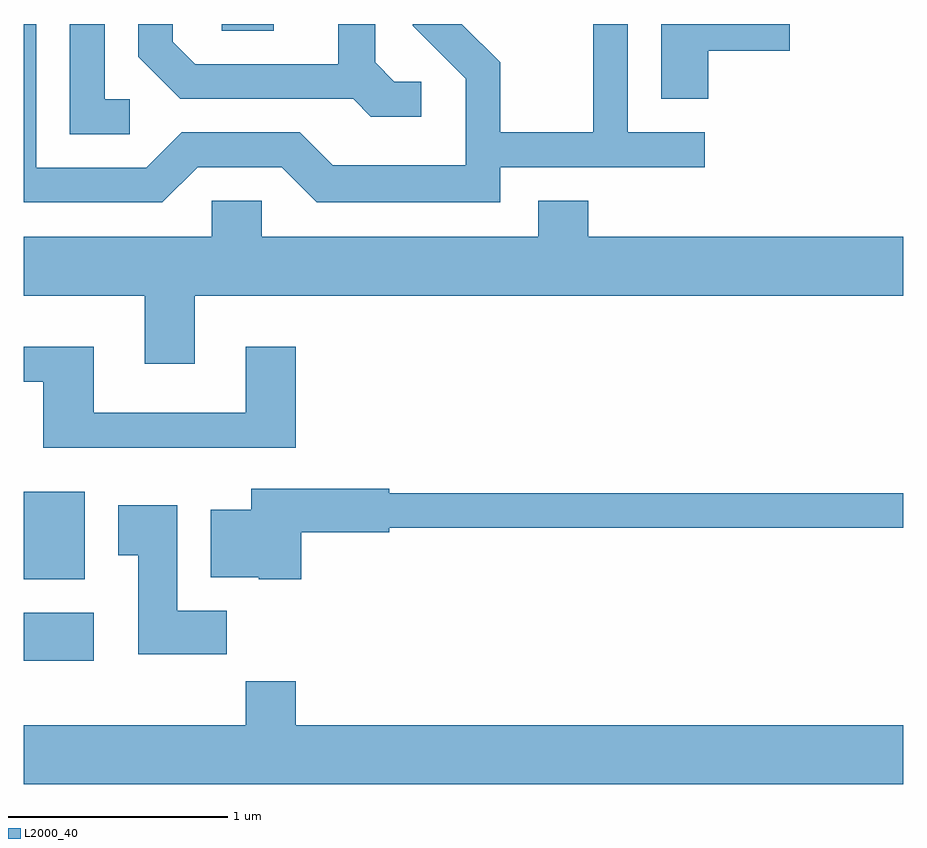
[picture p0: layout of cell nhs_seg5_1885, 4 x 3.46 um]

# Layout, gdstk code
import gdstk
lib = gdstk.Library(unit=1e-6, precision=1e-09)
def R(c, l, rs):  # rectangles x0, y0, x1, y1
    for r in rs: c.add(gdstk.rectangle(r[:2], r[2:], *l))
def P(c, l, *ps):  # polygons
    for p in ps: c.add(gdstk.Polygon(p, *l))
L2000_40 = (2000, 40)

nhs_seg5_1885 = lib.new_cell('nhs_seg5_1885')
R(nhs_seg5_1885, L2000_40, [(241.611,1415.176,241.929,1415.394), (241.611,1415.546,241.889,1415.944), (242.511,1418.041,242.749,1418.072)])
P(nhs_seg5_1885, L2000_40, [(244.724,1417.951),(245.094,1417.951),(245.094,1418.072),(244.511,1418.072),(244.511,1417.731),(244.724,1417.731)],
  [(243.418,1417.809),(243.297,1417.809),(243.209,1417.897),(243.209,1418.072),(243.041,1418.072),(243.041,1417.889),(242.392,1417.889),(242.289,1417.992),(242.289,1418.072),(242.131,1418.072),(242.131,1417.924),(242.324,1417.731),(243.109,1417.731),(243.189,1417.651),(243.418,1417.651)],
  [(242.402,1417.421),(242.784,1417.421),(242.944,1417.261),(243.779,1417.261),(243.779,1417.421),(244.708,1417.421),(244.708,1417.579),(244.359,1417.579),(244.359,1418.072),(244.201,1418.072),(244.201,1417.579),(243.779,1417.579),(243.779,1417.897),(243.604,1418.072),(243.381,1418.072),(243.381,1418.064),(243.621,1417.824),(243.621,1417.429),(243.017,1417.429),(242.867,1417.579),(242.329,1417.579),(242.169,1417.419),(241.669,1417.419),(241.669,1418.072),(241.611,1418.072),(241.611,1417.261),(242.242,1417.261)],
  [(242.093,1417.729),(241.979,1417.729),(241.979,1418.072),(241.821,1418.072),(241.821,1417.571),(242.093,1417.571)],
  [(245.611,1417.104),(244.179,1417.104),(244.179,1417.269),(243.951,1417.269),(243.951,1417.104),(242.694,1417.104),(242.694,1417.269),(242.466,1417.269),(242.466,1417.104),(241.611,1417.104),(241.611,1416.836),(242.161,1416.836),(242.161,1416.526),(242.389,1416.526),(242.389,1416.836),(245.611,1416.836)],
  [(242.849,1416.604),(242.621,1416.604),(242.621,1416.304),(241.929,1416.304),(241.929,1416.604),(241.611,1416.604),(241.611,1416.446),(241.701,1416.446),(241.701,1416.146),(242.849,1416.146)],
  [(242.874,1415.761),(243.274,1415.761),(243.274,1415.781),(245.611,1415.781),(245.611,1415.939),(243.274,1415.939),(243.274,1415.959),(242.646,1415.959),(242.646,1415.864),(242.461,1415.864),(242.461,1415.556),(242.68,1415.556),(242.68,1415.546),(242.874,1415.546)],
  [(242.534,1415.404),(242.309,1415.404),(242.309,1415.884),(242.041,1415.884),(242.041,1415.656),(242.131,1415.656),(242.131,1415.206),(242.534,1415.206)],
  [(245.611,1414.884),(242.849,1414.884),(242.849,1415.084),(242.621,1415.084),(242.621,1414.884),(241.611,1414.884),(241.611,1414.616),(245.611,1414.616)])

lib.write_gds('nhs_seg5_1885.gds')
